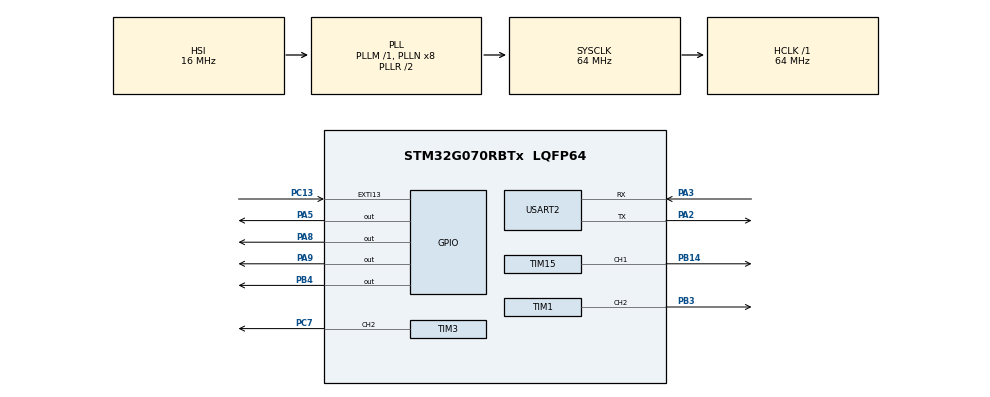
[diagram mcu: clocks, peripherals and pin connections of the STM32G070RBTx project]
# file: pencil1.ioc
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Dma.Request0=USART2_RX
Dma.USART2_RX.0.Direction=DMA_PERIPH_TO_MEMORY
Dma.USART2_RX.0.EventEnable=DISABLE
Dma.USART2_RX.0.Instance=DMA1_Channel1
Dma.USART2_RX.0.MemDataAlignment=DMA_MDATAALIGN_BYTE
Dma.USART2_RX.0.MemInc=DMA_MINC_ENABLE
Dma.USART2_RX.0.Mode=DMA_CIRCULAR
Dma.USART2_RX.0.PeriphDataAlignment=DMA_PDATAALIGN_BYTE
Dma.USART2_RX.0.PeriphInc=DMA_PINC_DISABLE
Dma.USART2_RX.0.Polarity=HAL_DMAMUX_REQ_GEN_RISING
Dma.USART2_RX.0.Priority=DMA_PRIORITY_LOW
Dma.USART2_RX.0.RequestNumber=1
Dma.USART2_RX.0.SignalID=NONE
Dma.USART2_RX.0.SyncEnable=DISABLE
Dma.USART2_RX.0.SyncPolarity=HAL_DMAMUX_SYNC_NO_EVENT
Dma.USART2_RX.0.SyncRequestNumber=1
Dma.USART2_RX.0.SyncSignalID=NONE
Mcu.Family=STM32G0
Mcu.Name=STM32G070RBTx
Mcu.Package=LQFP64
NVIC.DMA1_Channel1_IRQn=true\:0\:0\:false\:false\:true\:false\:true\:true
NVIC.EXTI4_15_IRQn=true\:0\:0\:false\:false\:true\:true\:true\:true
NVIC.TIM15_IRQn=true\:0\:0\:false\:false\:true\:true\:true\:true
NVIC.TIM1_BRK_UP_TRG_COM_IRQn=true\:0\:0\:false\:false\:true\:true\:true\:true
NVIC.TIM1_CC_IRQn=true\:0\:0\:false\:false\:true\:true\:true\:true
NVIC.TIM3_IRQn=true\:0\:0\:false\:false\:true\:true\:true\:true
NVIC.USART2_IRQn=true\:1\:0\:true\:false\:true\:true\:true\:true
PA2.Mode=Asynchronous
PA2.Signal=USART2_TX
PA3.Mode=Asynchronous
PA3.Signal=USART2_RX
PA5.Signal=GPIO_Output
PA8.Signal=GPIO_Output
PA9.Signal=GPIO_Output
PB14.Signal=S_TIM15_CH1
PB3.Signal=S_TIM1_CH2
PB4.Signal=GPIO_Output
PC13.GPIO_ModeDefaultEXTI=GPIO_MODE_IT_FALLING
PC13.GPIO_PuPd=GPIO_PULLUP
PC13.Signal=GPXTI13
PC7.Signal=S_TIM3_CH2
PF0-OSC_IN\ (PF0).Mode=HSE-External-Oscillator
PF0-OSC_IN\ (PF0).Signal=RCC_OSC_IN
PF1-OSC_OUT\ (PF1).Mode=HSE-External-Oscillator
PF1-OSC_OUT\ (PF1).Signal=RCC_OSC_OUT
ProjectManager.HeapSize=0x200
ProjectManager.StackSize=0x400
ProjectManager.TargetToolchain=MDK-ARM V5.32
RCC.ADCFreq_Value=64000000
RCC.AHBFreq_Value=64000000
RCC.CortexFreq_Value=64000000
RCC.EXTERNAL_CLOCK_VALUE=48000
RCC.HCLKFreq_Value=64000000
RCC.HSE_VALUE=8000000
RCC.HSI_VALUE=16000000
RCC.LSE_VALUE=32768
RCC.SYSCLKFreq_VALUE=64000000
RCC.SYSCLKSource=RCC_SYSCLKSOURCE_PLLCLK
RCC.VCOOutputFreq_Value=128000000
SH.S_TIM15_CH1.0=TIM15_CH1,PWM Generation1 CH1
SH.S_TIM1_CH2.0=TIM1_CH2,PWM Generation2 CH2
SH.S_TIM3_CH2.0=TIM3_CH2,PWM Generation2 CH2
TIM1.AutoReloadPreload=TIM_AUTORELOAD_PRELOAD_ENABLE
TIM1.Channel-PWM\ Generation2\ CH2=TIM_CHANNEL_2
TIM1.Period=2000-1
TIM1.Prescaler=64-1
TIM1.Pulse-PWM\ Generation2\ CH2=1000
TIM15.AutoReloadPreload=TIM_AUTORELOAD_PRELOAD_ENABLE
TIM15.Channel-PWM\ Generation1\ CH1=TIM_CHANNEL_1
TIM15.Period=2000-1
TIM15.Prescaler=64-1
TIM15.Pulse-PWM\ Generation1\ CH1=1000
TIM3.AutoReloadPreload=TIM_AUTORELOAD_PRELOAD_ENABLE
TIM3.Channel-PWM\ Generation2\ CH2=TIM_CHANNEL_2
TIM3.Period=2000-1
TIM3.Prescaler=64-1
TIM3.Pulse-PWM\ Generation2\ CH2=1000
USART2.VirtualMode-Asynchronous=VM_ASYNC
VP_TIM15_VS_ClockSourceINT.Mode=Internal
VP_TIM1_VS_ClockSourceINT.Mode=Internal
VP_TIM3_VS_ClockSourceINT.Mode=Internal
board=custom

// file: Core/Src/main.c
/* USER CODE BEGIN Header */
/**
  ******************************************************************************
  * @file           : main.c
  * @brief          : Main program body — Binary step protocol + ISR Bresenham
  ******************************************************************************
  */
/* USER CODE END Header */
#include "main.h"
#include "dma.h"
#include "tim.h"
#include "usart.h"
#include "gpio.h"

/* USER CODE BEGIN Includes */
#include "function.h"
#include <string.h>
/* USER CODE END Includes */

/* USER CODE BEGIN PD */
#define PKT_SOF         0xAA
#define PKT_MOVE_TO     0x01
#define PKT_PEN_UP      0x02
#define PKT_PEN_DOWN    0x03
#define PKT_SYNC        0x04
#define PKT_ESTOP       0x05

#define CMD_QUEUE_SIZE  256
#define SPD_F500   0
#define SPD_F800   1
#define SPD_F1200  2
#define SPD_F3000  3
/* USER CODE END PD */

/* USER CODE BEGIN PV */
X_Y g_xy;
volatile uint8_t pen_is_down = 0;
volatile int32_t g_steps_X0 = 0, g_steps_Y0 = 0;
volatile int32_t g_steps_X1 = 0, g_steps_Y1 = 0;

#define RX_RING_SIZE  512
static volatile uint8_t  rx_ring[RX_RING_SIZE];
static volatile uint16_t rx_ring_head = 0, rx_ring_tail = 0;
static uint8_t           rx_byte;

typedef struct {
    uint8_t  cmd;
    int32_t  x_steps, y_steps;
    uint8_t  speed_idx;
} BinCommand;
BinCommand          cmdQueue[CMD_QUEUE_SIZE];
volatile uint16_t   cmdHead=0, cmdTail=0, cmdCount=0;
volatile uint8_t    pendingCommand = 0, machineHalt = 0;

typedef enum { STATE_IDLE, STATE_MOVING, STATE_PEN_WAIT } MachineState;
volatile MachineState machineState = STATE_IDLE;
volatile uint8_t g_line_complete = 0, g_pending_sync = 0;

static const uint16_t speed_arr[] = {800, 400, 250, 110};
/* USER CODE END PV */

void SystemClock_Config(void);
/* USER CODE BEGIN PFP */
static void system_reset(void);
/* USER CODE END PFP */

/* USER CODE BEGIN 0 */
static void serial_puts(const char *s) {
    while (*s) {
        while (!(USART2->ISR & USART_ISR_TXE_TXFNF));
        USART2->TDR = *s++;
    }
    while (!(USART2->ISR & USART_ISR_TC));
}

static uint16_t g_target_arr = 500;

static void set_step_rate_arr(uint16_t arr) {
    TIM1->ARR = arr;  TIM15->ARR = arr;
    TIM1->CNT = 0;    TIM15->CNT = 0;
}

static void set_step_rate_idx(uint8_t idx) {
    if (idx >= 4) idx = SPD_F800;
    g_target_arr = speed_arr[idx];
    uint16_t start_arr = speed_arr[idx] * 3;
    if (start_arr > 3000) start_arr = 3000;
    set_step_rate_arr(start_arr);
    TIM1->CR1 |= TIM_CR1_CEN;   TIM15->CR1 |= TIM_CR1_CEN;
    TIM1->DIER |= TIM_DIER_UIE; TIM15->DIER |= TIM_DIER_UIE;
}

static void motors_stop(void) {
    TIM1->CCER &= ~TIM_CCER_CC2E;  TIM15->CCER &= ~TIM_CCER_CC1E;
    TIM1->CCR2 = 0;                TIM15->CCR1 = 0;
}

static int enqueue_bin_cmd(uint8_t cmd, int32_t x, int32_t y, uint8_t spd) {
    if (cmdCount >= CMD_QUEUE_SIZE) return 0;
    cmdQueue[cmdHead].cmd = cmd;
    cmdQueue[cmdHead].x_steps = x;
    cmdQueue[cmdHead].y_steps = y;
    cmdQueue[cmdHead].speed_idx = spd;
    cmdHead = (cmdHead + 1) % CMD_QUEUE_SIZE;
    cmdCount++;
    return 1;
}

static void process_rx_byte_pkt(uint8_t c) {
    static uint8_t stage = 0, buf[8];
    if (stage == 0) {
        if (c == '?') {
            serial_puts(machineHalt ? "<Hold>\n" : (machineState == STATE_IDLE && cmdCount == 0) ? "<Idle>\n" : "<Run>\n");
            return;
        }
        if (c == '!') { machineHalt = 1; motors_stop(); return; }
        if (c == '~') { machineHalt = 0; return; }
        if (c == 0x18) { system_reset(); return; }
    }
    switch (stage) {
    case 0: if (c == PKT_SOF) { buf[0]=c; stage=1; } break;
    case 1: buf[1]=c; stage=2; break;
    case 2: case 3: case 4: case 5: buf[stage]=c; stage++; break;
    case 6: buf[6]=c; stage=7; break;
    case 7:
        buf[7]=c;
        {   uint8_t cs=0;
            for (int i=0;i<7;i++) cs ^= buf[i];
            if (cs==c) {
                uint8_t cmd = buf[1];
                int32_t x = (int32_t)(int16_t)((buf[2]<<8)|buf[3]);
                int32_t y = (int32_t)(int16_t)((buf[4]<<8)|buf[5]);
                uint8_t spd = buf[6];
                switch (cmd) {
                    case PKT_MOVE_TO: enqueue_bin_cmd(PKT_MOVE_TO,x,y,spd); break;
                    case PKT_PEN_UP:  enqueue_bin_cmd(PKT_PEN_UP,0,0,0); break;
                    case PKT_PEN_DOWN: enqueue_bin_cmd(PKT_PEN_DOWN,0,0,0); break;
                    case PKT_SYNC:    g_pending_sync=1; break;
                    case PKT_ESTOP:   machineHalt=1; motors_stop(); break;
                    default: break;
                }
            }
        }
        stage=0; break;
    default: stage=0; break;
    }
}

static void serial_poll_and_process(void) {
    while (rx_ring_tail != rx_ring_head) {
        uint8_t c = rx_ring[rx_ring_tail];
        rx_ring_tail = (rx_ring_tail + 1) % RX_RING_SIZE;
        process_rx_byte_pkt(c);
    }
}

static void system_reset(void) {
    motors_stop();
    cmdCount=0; cmdHead=0; cmdTail=0;
    machineState=STATE_IDLE; machineHalt=0;
    pendingCommand=0; g_line_complete=0; g_pending_sync=0;
    if (pen_is_down) {
        X_Y tmp; bresenham_init_steps(&tmp,0,0,0,0);
        pen_up(&tmp); pen_is_down=0;
    }
    g_steps_X1=g_steps_X0; g_steps_Y1=g_steps_Y0;
    HAL_GPIO_WritePin(GPIOA,GPIO_PIN_5,GPIO_PIN_RESET);
    serial_puts("[RESET]\n");
}
/* USER CODE END 0 */

int main(void) {
    HAL_Init();
    SystemClock_Config();
    MX_GPIO_Init();
    MX_DMA_Init();
    /* 使能定时器时钟 */
    __HAL_RCC_TIM1_CLK_ENABLE();
    __HAL_RCC_TIM15_CLK_ENABLE();
    __HAL_RCC_TIM3_CLK_ENABLE();

    MX_TIM1_Init();
    MX_USART2_UART_Init();
    MX_TIM15_Init();
    MX_TIM3_Init();

    /* USER CODE BEGIN 2 */

    __HAL_TIM_SET_AUTORELOAD(&htim1,300-1);
    __HAL_TIM_SET_AUTORELOAD(&htim15,300-1);
    __HAL_TIM_SET_AUTORELOAD(&htim3,300-1);
    __HAL_TIM_SET_COMPARE(&htim1,TIM_CHANNEL_2,0);
    __HAL_TIM_SET_COMPARE(&htim15,TIM_CHANNEL_1,0);
    __HAL_TIM_SET_COMPARE(&htim3,TIM_CHANNEL_2,0);

    HAL_NVIC_SetPriority(TIM1_BRK_UP_TRG_COM_IRQn,1,0); HAL_NVIC_EnableIRQ(TIM1_BRK_UP_TRG_COM_IRQn);
    HAL_NVIC_SetPriority(TIM15_IRQn,1,0);               HAL_NVIC_EnableIRQ(TIM15_IRQn);
    HAL_NVIC_SetPriority(TIM3_IRQn,1,0);                HAL_NVIC_EnableIRQ(TIM3_IRQn);

    HAL_TIM_PWM_Start(&htim1,TIM_CHANNEL_2);
    HAL_TIM_PWM_Start(&htim15,TIM_CHANNEL_1);
    HAL_TIM_PWM_Start(&htim3,TIM_CHANNEL_2);
    __HAL_TIM_ENABLE_IT(&htim1,TIM_IT_UPDATE);
    __HAL_TIM_ENABLE_IT(&htim15,TIM_IT_UPDATE);
    __HAL_TIM_ENABLE_IT(&htim3,TIM_IT_UPDATE);

    HAL_UART_Receive_IT(&huart2,&rx_byte,1);
    /* USER CODE END 2 */

    while (1) {
        serial_poll_and_process();
        if (machineHalt) { motors_stop(); continue; }
        switch (machineState) {
        case STATE_IDLE:
            if (cmdCount > 0) {
                uint16_t idx = cmdTail;
                cmdTail = (cmdTail+1)%CMD_QUEUE_SIZE; cmdCount--;
                switch (cmdQueue[idx].cmd) {
                case PKT_MOVE_TO:
                    g_steps_X1 = cmdQueue[idx].x_steps;
                    g_steps_Y1 = cmdQueue[idx].y_steps;
                    set_step_rate_idx(cmdQueue[idx].speed_idx);
                    bresenham_init_steps(&g_xy,g_steps_X0,g_steps_Y0,g_steps_X1,g_steps_Y1);
                    g_xy.interpStep=0; g_line_complete=0;
                    machineState = STATE_MOVING;
                    break;
                case PKT_PEN_DOWN: pendingCommand=PKT_PEN_DOWN; pen_down(&g_xy); machineState=STATE_PEN_WAIT; break;
                case PKT_PEN_UP:   pendingCommand=PKT_PEN_UP;   pen_up(&g_xy);   machineState=STATE_PEN_WAIT; break;
                }
            } else if (g_pending_sync) {
                g_pending_sync=0; serial_puts("ok\n");
            }
            break;
        case STATE_MOVING:
            if (g_line_complete) {
                g_line_complete=0;
                g_steps_X0=g_steps_X1; g_steps_Y0=g_steps_Y1;
                motors_stop();
                machineState=STATE_IDLE;
            }
            break;
        case STATE_PEN_WAIT:
            if (isMotionComplete(&g_xy)) {
                if (pendingCommand==PKT_PEN_DOWN) pen_is_down=1;
                if (pendingCommand==PKT_PEN_UP)   pen_is_down=0;
                pendingCommand=0; machineState=STATE_IDLE;
            }
            break;
        }
    }
}

void SystemClock_Config(void) {
    RCC_OscInitTypeDef RCC_OscInitStruct={0};
    RCC_ClkInitTypeDef RCC_ClkInitStruct={0};
    HAL_PWREx_ControlVoltageScaling(PWR_REGULATOR_VOLTAGE_SCALE1);
    RCC_OscInitStruct.OscillatorType=RCC_OSCILLATORTYPE_HSI;
    RCC_OscInitStruct.HSIState=RCC_HSI_ON;
    RCC_OscInitStruct.HSIDiv=RCC_HSI_DIV1;
    RCC_OscInitStruct.HSICalibrationValue=RCC_HSICALIBRATION_DEFAULT;
    RCC_OscInitStruct.PLL.PLLState=RCC_PLL_ON;
    RCC_OscInitStruct.PLL.PLLSource=RCC_PLLSOURCE_HSI;
    RCC_OscInitStruct.PLL.PLLM=RCC_PLLM_DIV1;
    RCC_OscInitStruct.PLL.PLLN=8;
    RCC_OscInitStruct.PLL.PLLP=RCC_PLLP_DIV2;
    RCC_OscInitStruct.PLL.PLLR=RCC_PLLR_DIV2;
    HAL_RCC_OscConfig(&RCC_OscInitStruct);
    RCC_ClkInitStruct.ClockType=RCC_CLOCKTYPE_HCLK|RCC_CLOCKTYPE_SYSCLK|RCC_CLOCKTYPE_PCLK1;
    RCC_ClkInitStruct.SYSCLKSource=RCC_SYSCLKSOURCE_PLLCLK;
    RCC_ClkInitStruct.AHBCLKDivider=RCC_SYSCLK_DIV1;
    RCC_ClkInitStruct.APB1CLKDivider=RCC_HCLK_DIV1;
    HAL_RCC_ClockConfig(&RCC_ClkInitStruct,FLASH_LATENCY_2);
}

/* USER CODE BEGIN 4 */
void HAL_UART_RxCpltCallback(UART_HandleTypeDef *huart) {
    if (huart->Instance==USART2) {
        uint16_t next=(rx_ring_head+1)%RX_RING_SIZE;
        if (next!=rx_ring_tail) { rx_ring[rx_ring_head]=rx_byte; rx_ring_head=next; }
        HAL_UART_Receive_IT(&huart2,&rx_byte,1);
    }
}

void HAL_TIM_PeriodElapsedCallback(TIM_HandleTypeDef *htim) {
    /* ── 步进计数 ── */
    if (htim->Instance==TIM1 && g_xy.currentStep_X<g_xy.targetSteps_X) g_xy.currentStep_X++;
    if (htim->Instance==TIM15 && g_xy.currentStep_Y<g_xy.targetSteps_Y) g_xy.currentStep_Y++;
    if (htim->Instance==TIM3 && g_xy.currentStep_Z<g_xy.targetSteps_Z) g_xy.currentStep_Z++;

    /* ── Bresenham 自推进 ── */
    if (machineState==STATE_MOVING &&
        g_xy.currentStep_X>=g_xy.targetSteps_X &&
        g_xy.currentStep_Y>=g_xy.targetSteps_Y &&
        g_xy.currentStep_Z>=g_xy.targetSteps_Z) {
        if (g_xy.interpStep < g_xy.totalSteps) {
            if (g_xy.totalSteps>=10) {
                uint32_t p = (g_xy.interpStep*100)/g_xy.totalSteps;
                uint16_t na = g_target_arr;
                if (p<10)          { na += (10-p)*g_target_arr/10; }
                else if (p>90)     { na += (p-90)*g_target_arr/10; }
                if (na>3000) na=3000;
                set_step_rate_arr(na);
            }

            bresenham_step(&g_xy);
        } else {
            set_step_rate_arr(g_target_arr*2>3000?3000:g_target_arr*2);
            g_line_complete=1;
        }
    }

    /* ── 完成/非移动时关断输出 ── */
    if (g_line_complete || machineState!=STATE_MOVING) {
        if (htim->Instance==TIM1) { TIM1->CCER&=~TIM_CCER_CC2E; __HAL_TIM_SET_COMPARE(&htim1,TIM_CHANNEL_2,0); }
        if (htim->Instance==TIM15) { TIM15->CCER&=~TIM_CCER_CC1E; __HAL_TIM_SET_COMPARE(&htim15,TIM_CHANNEL_1,0); }
    }
    if (htim->Instance==TIM3 && g_xy.currentStep_Z>=g_xy.targetSteps_Z)
        __HAL_TIM_SET_COMPARE(&htim3,TIM_CHANNEL_2,0);
}

void HAL_GPIO_EXTI_Falling_Callback(uint16_t GPIO_Pin) {
    if (GPIO_Pin==GPIO_PIN_13) system_reset();
}
/* USER CODE END 4 */

void Error_Handler(void) { __disable_irq(); while(1){} }
